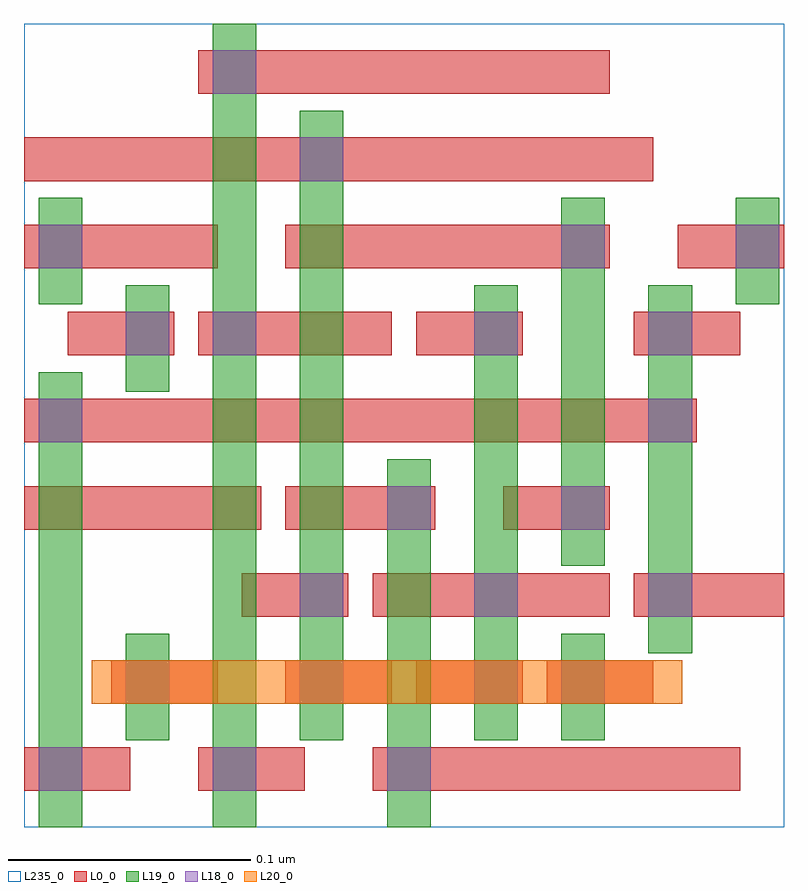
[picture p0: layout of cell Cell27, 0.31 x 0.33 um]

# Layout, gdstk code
import gdstk
lib = gdstk.Library(unit=1e-6, precision=2.5e-10)
def R(c, l, rs):  # rectangles x0, y0, x1, y1
    for r in rs: c.add(gdstk.rectangle(r[:2], r[2:], *l))
def A(c, l, x, y, w, h, nx, ny, dx, dy):  # array of equal rectangles
    R(c, l, [(x+i*dx, y+j*dy, x+i*dx+w, y+j*dy+h) for i in range(nx) for j in range(ny)])
L0_0 = (0, 0)
L18_0 = (18, 0)
L19_0 = (19, 0)
L20_0 = (20, 0)
L235_0 = (235, 0)

cell27 = lib.new_cell('Cell27')
A(cell27, L0_0, 0.112, 0.035, 0.044, 0.018, 3, 1, 0.054, 0)
R(cell27, L0_0, [(0.004,-0.001,0.048,0.017), (0.076,-0.001,0.12,0.017), (0.148,-0.001,0.3,0.017), (0.04,0.035,0.084,0.053), (0.094,0.071,0.138,0.089), (0.148,0.071,0.246,0.089), (0.256,0.071,0.318,0.089), (0.004,0.107,0.102,0.125), (0.112,0.107,0.174,0.125), (0.202,0.107,0.246,0.125), (0.004,0.143,0.282,0.161), (0.022,0.179,0.066,0.197), (0.076,0.179,0.156,0.197), (0.166,0.179,0.21,0.197), (0.256,0.179,0.3,0.197), (0.004,0.215,0.084,0.233), (0.112,0.215,0.246,0.233), (0.274,0.215,0.318,0.233), (0.004,0.251,0.264,0.269), (0.076,0.287,0.246,0.305)])
A(cell27, L18_0, 0.01, -0.001, 0.018, 0.018, 3, 1, 0.072, 0)
A(cell27, L18_0, 0.046, 0.035, 0.018, 0.018, 3, 1, 0.072, 0)
A(cell27, L18_0, 0.118, 0.071, 0.018, 0.018, 3, 1, 0.072, 0)
R(cell27, L18_0, [(0.226,0.035,0.244,0.053), (0.154,0.107,0.172,0.125), (0.226,0.107,0.244,0.125), (0.01,0.143,0.028,0.161), (0.262,0.143,0.28,0.161), (0.046,0.179,0.064,0.197), (0.082,0.179,0.1,0.197), (0.19,0.179,0.208,0.197), (0.262,0.179,0.28,0.197), (0.01,0.215,0.028,0.233), (0.226,0.215,0.244,0.233), (0.298,0.215,0.316,0.233), (0.118,0.251,0.136,0.269), (0.082,0.287,0.1,0.305)])
R(cell27, L19_0, [(0.01,-0.016,0.028,0.172), (0.082,-0.016,0.1,0.316), (0.154,-0.016,0.172,0.136), (0.046,0.02,0.064,0.064), (0.118,0.02,0.136,0.28), (0.19,0.02,0.208,0.208), (0.226,0.02,0.244,0.064), (0.262,0.056,0.28,0.208), (0.226,0.092,0.244,0.244), (0.046,0.164,0.064,0.208), (0.01,0.2,0.028,0.244), (0.298,0.2,0.316,0.244)])
R(cell27, L20_0, [(0.032,0.035,0.276,0.053)])
R(cell27, L235_0, [(0.004,-0.016,0.318,0.316)])

lib.write_gds('Cell27.gds')
